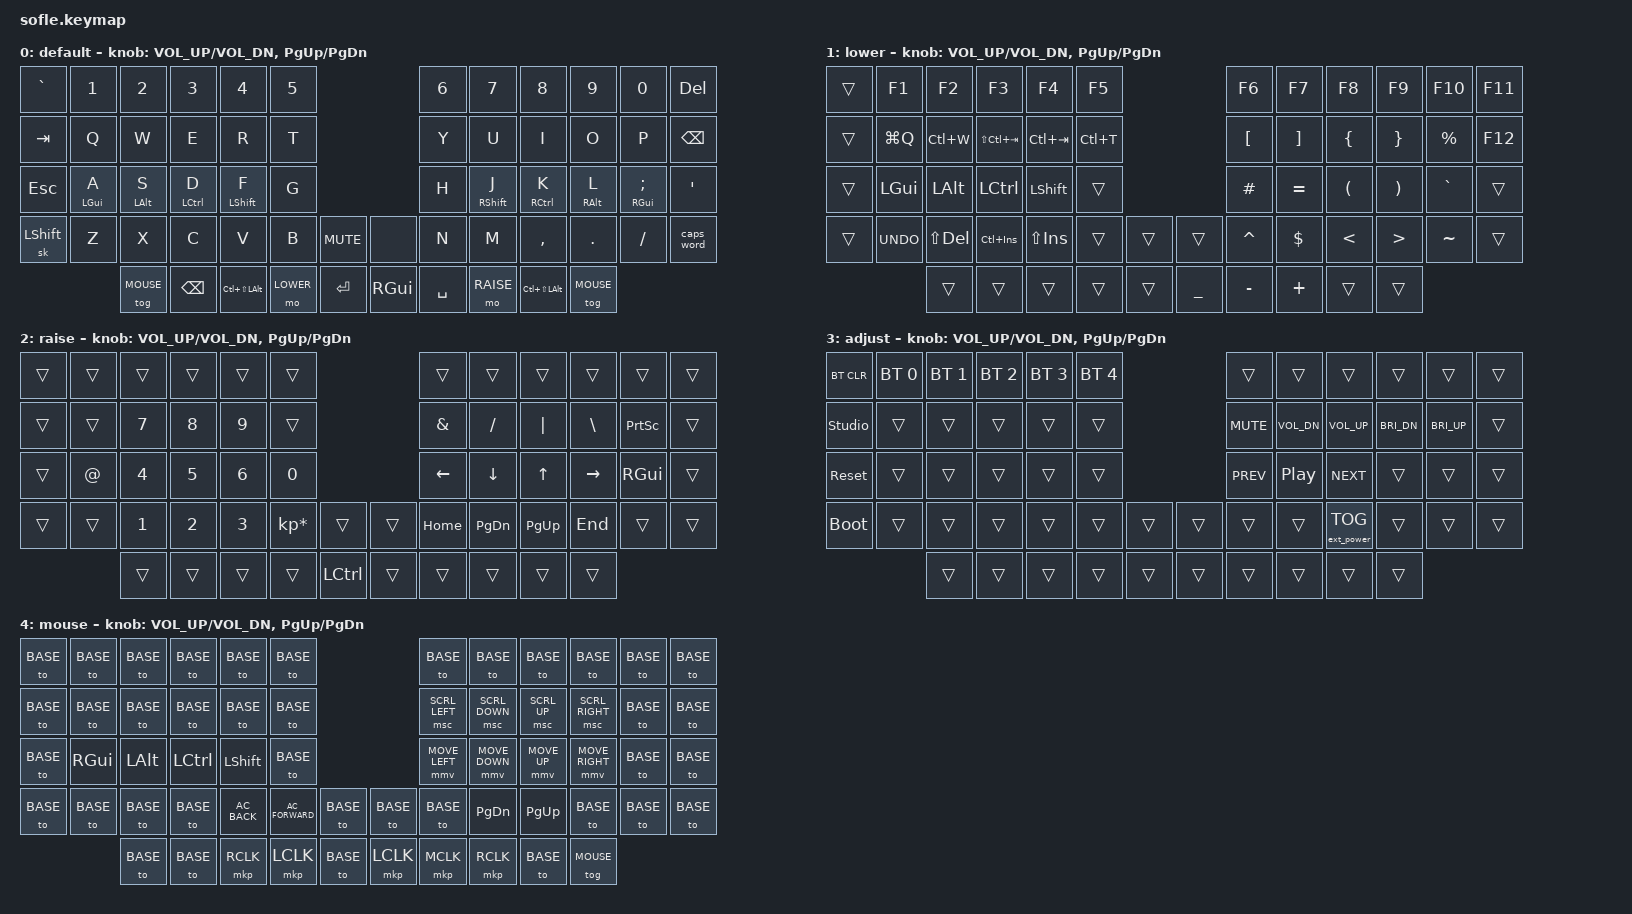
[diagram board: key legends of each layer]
/*
 * Copyright (c) 2020 The ZMK Contributors
 *
 * SPDX-License-Identifier: MIT
 */

#include <behaviors.dtsi>
#include <dt-bindings/zmk/keys.h>
#include <dt-bindings/zmk/bt.h>
#include <dt-bindings/zmk/rgb.h>
#include <dt-bindings/zmk/ext_power.h>
#include <dt-bindings/zmk/pointing.h>
#include <input/processors.dtsi>

#define BASE   0
#define LOWER  1
#define RAISE  2
#define ADJUST 3
#define MOUSE  4

// Clipboard combos that work on Linux/Windows (from folke's config)
#define U_CUT   LS(DEL)
#define U_COPY  LC(INS)
#define U_PASTE LS(INS)

// Meh = Ctrl+Shift+Alt held together. Matches `meh` in my Hyprland config
// (shared.lua: "CONTROL + SHIFT + ALT") so the thumb key drives meh+L/N/S etc.
#define MEH     LC(LS(LALT))

// Mouse layer helpers
#define ZMK_POINTING_DEFAULT_MOVE_VAL 1500
#define ZMK_POINTING_DEFAULT_SCRL_VAL 200
#define _0_ &to BASE
#define _MM_U &mmv MOVE_UP
#define _MM_D &mmv MOVE_DOWN
#define _MM_L &mmv MOVE_LEFT
#define _MM_R &mmv MOVE_RIGHT
#define _MS_U &msc SCRL_UP
#define _MS_D &msc SCRL_DOWN
#define _MS_L &msc SCRL_LEFT
#define _MS_R &msc SCRL_RIGHT

&mmv {
    acceleration-exponent = <1>;
    time-to-max-speed-ms = <500>;
    trigger-period-ms = <16>;
};

&msc {
    acceleration-exponent = <1>;
    time-to-max-speed-ms = <40>;
    trigger-period-ms = <16>;
};

/ {

    // Homerow mods, split by hand so the trigger lists can be opposite-hand only.
    // hold-trigger-key-positions are 0-indexed into the bindings array below
    // (left half then right, top->bottom; the &none at 11 and the encoder slots
    // 42/43 count too). hml fires only on RIGHT-half keys, hmr only on LEFT-half.
    behaviors {
        hml: home_row_mod_left {
            compatible = "zmk,behavior-hold-tap";
            #binding-cells = <2>;
            flavor = "balanced";
            tapping-term-ms = <200>;
            quick-tap-ms = <175>;
            require-prior-idle-ms = <150>;
            hold-trigger-on-release;
            hold-trigger-key-positions = < // RIGHT half
                 6  7  8  9 10
                18 19 20 21 22 23
                30 31 32 33 34 35
                44 45 46 47 48 49
                55 56 57 58 59>;
            bindings = <&kp>, <&kp>;
        };
        hmr: home_row_mod_right {
            compatible = "zmk,behavior-hold-tap";
            #binding-cells = <2>;
            flavor = "balanced";
            tapping-term-ms = <200>;
            quick-tap-ms = <175>;
            require-prior-idle-ms = <150>;
            hold-trigger-on-release;
            hold-trigger-key-positions = < // LEFT half
                 0  1  2  3  4  5
                12 13 14 15 16 17
                24 25 26 27 28 29
                36 37 38 39 40 41
                50 51 52 53 54>;
            bindings = <&kp>, <&kp>;
        };
    };

   // Activate ADJUST layer by holding raise and lower together. This is the
   // only way in now (the old dedicated thumb keys are MEH keys instead).
    conditional_layers {
        compatible = "zmk,conditional-layers";
        adjust_layer {
            if-layers = <LOWER RAISE>;
            then-layer = <ADJUST>;
        };
    };

    // Custom chords (folke-style): press two keys together to fire a shortcut
    // without dedicating a key or switching layers.
    combos {
        compatible = "zmk,combos";

        // Super+\  -> drop-down / quake terminal.
        // B (pos 41, left inner-bottom) + N (pos 44, right inner-bottom):
        // one key per hand, so it never misfires while typing. To move it,
        // change key-positions (see the position comments on the hml behavior).
        combo_quake_term {
            timeout-ms = <50>;
            key-positions = <41 44>;
            bindings = <&kp LG(BSLH)>;
            layers = <BASE>;
        };
    };

    keymap {
        compatible = "zmk,keymap";

        default_layer {
            display-name = "default";
// ------------------------------------------------------------------------------------------------------------
// |   `   |  1  |  2  |  3   |  4   |  5   |                   |  6   |  7    |  8    |  9   |   0   |  DEL  |
// |  TAB  |  Q  |  W  |  E   |  R   |  T   |                   |  Y   |  U    |  I    |  O   |   P   | BKSPC |
// |  ESC  |  A  |  S  |  D   |  F   |  G   |                   |  H   |  J    |  K    |  L   |   ;   |   '   |
// | SKSFT |  Z  |  X  |  C   |  V   |  B   |  MUTE  |  |       |  N   |  M    |  ,    |  .   |   /   | CAPSW |
//          | MOUSE | BKSP | MEH | LOWER| ENTER | | RGUI | SPACE | RAISE | MEH | MOUSE |
            bindings = <
&kp GRAVE  &kp N1      &kp N2      &kp N3       &kp N4       &kp N5                          &kp N6  &kp N7       &kp N8       &kp N9      &kp N0         &kp DEL
&kp TAB    &kp Q       &kp W       &kp E        &kp R        &kp T                           &kp Y   &kp U        &kp I        &kp O       &kp P          &kp BSPC
&kp ESC    &hml LGUI A &hml LALT S &hml LCTRL D &hml LSHFT F &kp G                           &kp H   &hmr RSHFT J &hmr RCTRL K &hmr RALT L &hmr RGUI SEMI &kp SQT
&sk LSHFT  &kp Z       &kp X       &kp C        &kp V        &kp B      &kp C_MUTE &none      &kp N   &kp M        &kp COMMA    &kp DOT     &kp FSLH       &caps_word
                       &tog MOUSE  &kp BSPC     &kp MEH      &mo LOWER  &kp RET    &kp RGUI   &kp SPACE  &mo RAISE &kp MEH      &tog MOUSE
            >;

            sensor-bindings = <&inc_dec_kp C_VOL_UP C_VOL_DN &inc_dec_kp PG_UP PG_DN>;
        };

        lower_layer {
            display-name = "lower";
// Symbols + clipboard, with F-keys on the number row. Left home row = pure mods for chording.
// ------------------------------------------------------------------------------------------------------------
// |       |  F1  |  F2  |  F3   |  F4  |  F5  |                   |  F6  |  F7  |  F8  |  F9  |  F10  |  F11  |
// |       | GUI+Q| CTL+W| s+c+TB| CTL+TB| CTL+T|                  |  [   |  ]   |  {   |  }   |   %   |  F12  |
// |       | GUI  | ALT  | CTRL  | SHIFT |      |                  |  #   |  =   |  (   |  )   |   `   |       |
// |       | UNDO | CUT  | COPY  | PASTE |      |        |  |      |  ^   |  $   |  <   |  >   |   ~   |       |
//                |     |       |       |      |        |  |   _   |  -   |   +  |      |      |
            bindings = <
&trans  &kp F1       &kp F2     &kp F3          &kp F4      &kp F5                       &kp F6      &kp F7      &kp F8     &kp F9     &kp F10    &kp F11
&trans  &kp LG(Q)    &kp LC(W)  &kp LS(LC(TAB)) &kp LC(TAB) &kp LC(T)                    &kp LBKT    &kp RBKT    &kp LBRC   &kp RBRC   &kp PRCNT  &kp F12
&trans  &kp LGUI     &kp LALT   &kp LCTRL       &kp LSHFT   &trans                       &kp HASH    &kp EQUAL   &kp LPAR   &kp RPAR   &kp GRAVE  &trans
&trans  &kp K_UNDO   &kp U_CUT  &kp U_COPY      &kp U_PASTE &trans   &trans  &trans       &kp CARET   &kp DOLLAR  &kp LT     &kp GT     &kp TILDE  &trans
                     &trans     &trans          &trans      &trans   &trans  &kp UNDERSCORE  &kp MINUS   &kp PLUS    &trans     &trans
            >;

            sensor-bindings = <&inc_dec_kp C_VOL_UP C_VOL_DN &inc_dec_kp PG_UP PG_DN>;
        };

        raise_layer {
            display-name = "raise";
// Numpad on the left, navigation + symbols on the right.
// ------------------------------------------------------------------------------------------------------------
// |       |     |     |     |     |     |                       |      |      |      |      |       |       |
// |       |     |  7  |  8  |  9  |     |                       |  &   |  /   |  |   |  \   | PRTSC |       |
// |       |  @  |  4  |  5  |  6  |  0  |                       |  ←   |  ↓   |  ↑   |  →   |  RGUI |       |
// |       |     |  1  |  2  |  3  |  *  |        |  |           | HOME | PGDN | PGUP | END  |       |       |
//                |     |     |     | CTRL |       |  |          |      |      |      |      |
            bindings = <
&trans  &trans   &trans   &trans   &trans            &trans                  &trans     &trans      &trans      &trans      &trans     &trans
&trans  &trans   &kp N7   &kp N8   &kp N9            &trans                  &kp AMPS   &kp FSLH    &kp PIPE    &kp BSLH    &kp PSCRN  &trans
&trans  &kp AT   &kp N4   &kp N5   &kp N6            &kp N0                  &kp LEFT   &kp DOWN    &kp UP      &kp RIGHT   &kp RGUI   &trans
&trans  &trans   &kp N1   &kp N2   &kp N3   &kp KP_MULTIPLY  &trans  &trans  &kp HOME   &kp PG_DN   &kp PG_UP   &kp END     &trans     &trans
                 &trans   &trans   &trans   &trans   &kp LCTRL  &trans  &trans  &trans     &trans      &trans
            >;

            sensor-bindings = <&inc_dec_kp C_VOL_UP C_VOL_DN &inc_dec_kp PG_UP PG_DN>;
        };

        adjust_layer {
            display-name = "adjust";
// Bluetooth, firmware, ZMK Studio unlock, media + brightness, ext power.
// ------------------------------------------------------------------------------------------------------------
// | BTCLR | BT0  | BT1  | BT2  | BT3  | BT4  |                   |      |       |       |       |       |      |
// | UNLOCK|      |      |      |      |      |                   | MUTE | VOL-  | VOL+  | BRI-  | BRI+  |      |
// | RESET |      |      |      |      |      |                   | PREV | PLAY  | NEXT  |       |       |      |
// | BOOTL |      |      |      |      |      |        |  |       |      |       | EXTPWR|       |       |      |
//                |     |      |      |      |        |  |       |      |       |       |       |
            bindings = <
&bt BT_CLR     &bt BT_SEL 0 &bt BT_SEL 1 &bt BT_SEL 2 &bt BT_SEL 3 &bt BT_SEL 4                    &trans     &trans       &trans       &trans     &trans  &trans
&studio_unlock &trans       &trans       &trans       &trans       &trans                          &kp C_MUTE &kp C_VOL_DN &kp C_VOL_UP &kp C_BRI_DN &kp C_BRI_UP &trans
&sys_reset     &trans       &trans       &trans       &trans       &trans                          &kp C_PREV &kp C_PP     &kp C_NEXT   &trans     &trans  &trans
&bootloader    &trans       &trans       &trans       &trans       &trans     &trans   &trans       &trans     &trans       &ext_power EP_TOG &trans &trans  &trans
                            &trans       &trans       &trans       &trans     &trans   &trans       &trans     &trans       &trans       &trans
            >;

            sensor-bindings = <&inc_dec_kp C_VOL_UP C_VOL_DN &inc_dec_kp PG_UP PG_DN>;
        };

        mouse_layer {
            display-name = "mouse";
// Pointer move + scroll on the right, mods on the left home row, clicks on the thumbs.
// Any key shown as BASE drops you back to the base layer (or tap the MOUSE toggle again).
// ------------------------------------------------------------------------------------------------------------
// | BASE  | BASE | BASE | BASE | BASE | BASE |                   | BASE | BASE  | BASE  | BASE | BASE  | BASE |
// | BASE  | BASE | BASE | BASE | BASE | BASE |                   | SCRL←| SCRL↓ | SCRL↑ | SCRL→| BASE  | BASE |
// | BASE  | RGUI | ALT  | CTRL | SHIFT| BASE |                   | MOV← | MOV↓  | MOV↑  | MOV→ | BASE  | BASE |
// | BASE  | BASE | BASE | BASE | BACK | FWD  |        |  |       | BASE | PGDN  | PGUP  | BASE | BASE  | BASE |
//                | BASE | BASE | RCLK | LCLK |        |  | LCLK  | MCLK | RCLK  | BASE  | MOUSE|
            bindings = <
_0_  _0_        _0_        _0_         _0_         _0_                          _0_     _0_       _0_       _0_     _0_   _0_
_0_  _0_        _0_        _0_         _0_         _0_                          _MS_L   _MS_D     _MS_U     _MS_R   _0_   _0_
_0_  &kp RGUI   &kp LALT   &kp LCTRL   &kp LSHFT   _0_                          _MM_L   _MM_D     _MM_U     _MM_R   _0_   _0_
_0_  _0_        _0_        _0_         &kp C_AC_BACK &kp C_AC_FORWARD _0_ _0_      _0_     &kp PG_DN &kp PG_UP _0_     _0_   _0_
                _0_        _0_         &mkp RCLK   &mkp LCLK  _0_  &mkp LCLK    &mkp MCLK &mkp RCLK _0_     &tog MOUSE
            >;

            sensor-bindings = <&inc_dec_kp C_VOL_UP C_VOL_DN &inc_dec_kp PG_UP PG_DN>;
        };

    };
};
